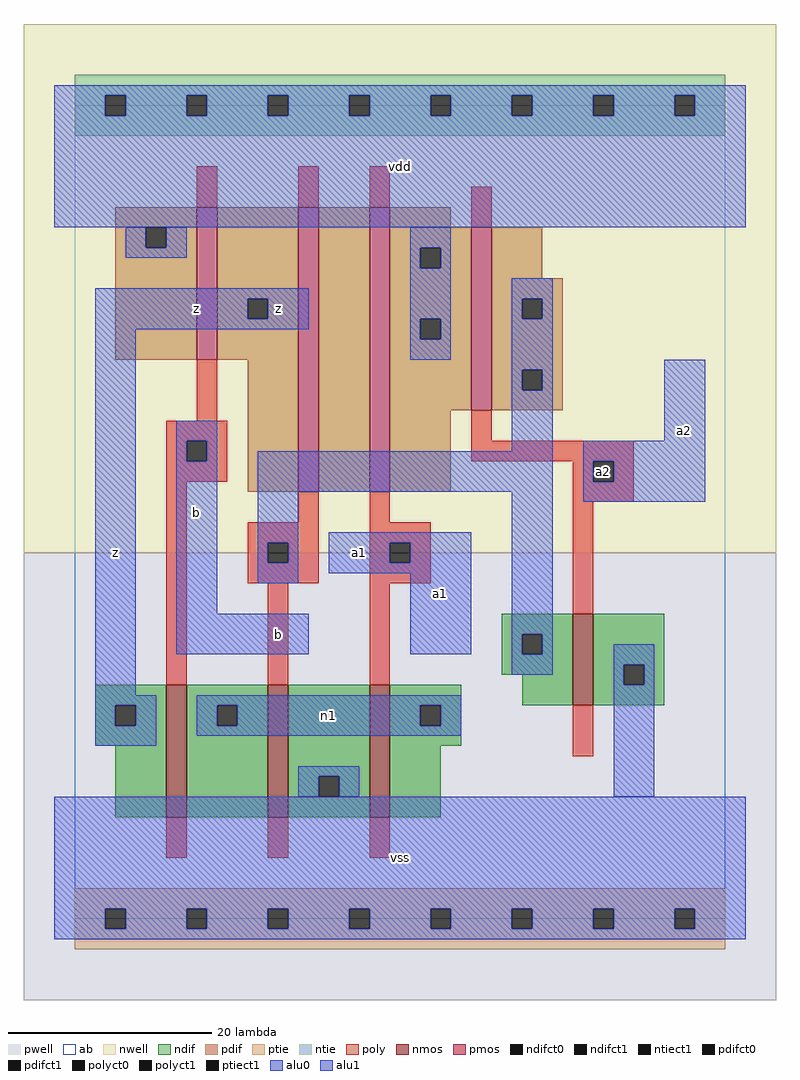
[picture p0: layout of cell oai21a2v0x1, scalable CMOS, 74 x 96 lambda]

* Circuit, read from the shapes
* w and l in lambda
.subckt oai21a2v0x1 a1 a2 b n1 vdd vss z
M1 n1 b z vss nfet w=13 l=2
M2 vss n2 n1 vss nfet w=13 l=2
M3 n1 a1 vss vss nfet w=13 l=2
M4 vss a2 n2 vss nfet w=9 l=2
M5 z b vdd vdd pfet w=15 l=2
M6 n3 n2 z vdd pfet w=28 l=2
M7 vdd a1 n3 vdd pfet w=28 l=2
M8 n2 a2 vdd vdd pfet w=18 l=2
.ends

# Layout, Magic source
magic
tech scmos
<< ab >>
rect 0 0 64 80
<< nwell >>
rect -5 36 69 88
<< pwell >>
rect -5 -8 69 36
<< poly >>
rect 12 70 14 74
rect 22 70 24 74
rect 29 70 31 74
rect 12 49 14 55
rect 9 47 15 49
rect 9 45 11 47
rect 13 45 15 47
rect 9 43 15 45
rect 9 23 11 43
rect 39 68 41 72
rect 39 47 41 50
rect 39 45 55 47
rect 49 43 51 45
rect 53 43 55 45
rect 22 39 24 42
rect 17 37 24 39
rect 17 35 19 37
rect 21 35 24 37
rect 17 33 24 35
rect 29 39 31 42
rect 49 41 55 43
rect 29 37 35 39
rect 29 35 31 37
rect 33 35 35 37
rect 29 33 35 35
rect 19 23 21 33
rect 29 23 31 33
rect 49 30 51 41
rect 49 16 51 21
rect 9 6 11 10
rect 19 6 21 10
rect 29 6 31 10
<< ndif >>
rect 42 28 49 30
rect 42 26 44 28
rect 46 26 49 28
rect 42 24 49 26
rect 2 21 9 23
rect 2 19 4 21
rect 6 19 9 21
rect 2 17 9 19
rect 4 10 9 17
rect 11 21 19 23
rect 11 19 14 21
rect 16 19 19 21
rect 11 10 19 19
rect 21 14 29 23
rect 21 12 24 14
rect 26 12 29 14
rect 21 10 29 12
rect 31 21 38 23
rect 44 21 49 24
rect 51 25 58 30
rect 51 23 54 25
rect 56 23 58 25
rect 51 21 58 23
rect 31 19 34 21
rect 36 19 38 21
rect 31 17 38 19
rect 31 10 36 17
<< pdif >>
rect 4 68 12 70
rect 4 66 7 68
rect 9 66 12 68
rect 4 55 12 66
rect 14 61 22 70
rect 14 59 17 61
rect 19 59 22 61
rect 14 55 22 59
rect 17 42 22 55
rect 24 42 29 70
rect 31 68 37 70
rect 31 66 39 68
rect 31 64 34 66
rect 36 64 39 66
rect 31 59 39 64
rect 31 57 34 59
rect 36 57 39 59
rect 31 50 39 57
rect 41 63 46 68
rect 41 61 48 63
rect 41 59 44 61
rect 46 59 48 61
rect 41 54 48 59
rect 41 52 44 54
rect 46 52 48 54
rect 41 50 48 52
rect 31 42 37 50
<< alu1 >>
rect -2 81 66 82
rect -2 79 3 81
rect 5 79 11 81
rect 13 79 19 81
rect 21 79 27 81
rect 29 79 35 81
rect 37 79 43 81
rect 45 79 51 81
rect 53 79 59 81
rect 61 79 66 81
rect -2 68 66 79
rect 2 61 23 62
rect 2 59 17 61
rect 19 59 23 61
rect 2 58 23 59
rect 2 22 6 58
rect 10 47 14 49
rect 10 45 11 47
rect 13 45 14 47
rect 58 47 62 55
rect 10 30 14 45
rect 25 37 39 38
rect 25 35 31 37
rect 33 35 39 37
rect 25 34 39 35
rect 10 26 23 30
rect 33 26 39 34
rect 50 45 62 47
rect 50 43 51 45
rect 53 43 62 45
rect 50 41 62 43
rect 2 21 8 22
rect 2 19 4 21
rect 6 19 8 21
rect 2 17 8 19
rect -2 1 66 12
rect -2 -1 3 1
rect 5 -1 11 1
rect 13 -1 19 1
rect 21 -1 27 1
rect 29 -1 35 1
rect 37 -1 43 1
rect 45 -1 51 1
rect 53 -1 59 1
rect 61 -1 66 1
rect -2 -2 66 -1
<< ptie >>
rect 0 1 64 3
rect 0 -1 3 1
rect 5 -1 11 1
rect 13 -1 19 1
rect 21 -1 27 1
rect 29 -1 35 1
rect 37 -1 43 1
rect 45 -1 51 1
rect 53 -1 59 1
rect 61 -1 64 1
rect 0 -3 64 -1
<< ntie >>
rect 0 81 64 83
rect 0 79 3 81
rect 5 79 11 81
rect 13 79 19 81
rect 21 79 27 81
rect 29 79 35 81
rect 37 79 43 81
rect 45 79 51 81
rect 53 79 59 81
rect 61 79 64 81
rect 0 77 64 79
<< nmos >>
rect 9 10 11 23
rect 19 10 21 23
rect 29 10 31 23
rect 49 21 51 30
<< pmos >>
rect 12 55 14 70
rect 22 42 24 70
rect 29 42 31 70
rect 39 50 41 68
<< polyct0 >>
rect 19 35 21 37
<< polyct1 >>
rect 11 45 13 47
rect 51 43 53 45
rect 31 35 33 37
<< ndifct0 >>
rect 44 26 46 28
rect 14 19 16 21
rect 24 12 26 14
rect 54 23 56 25
rect 34 19 36 21
<< ndifct1 >>
rect 4 19 6 21
<< ntiect1 >>
rect 3 79 5 81
rect 11 79 13 81
rect 19 79 21 81
rect 27 79 29 81
rect 35 79 37 81
rect 43 79 45 81
rect 51 79 53 81
rect 59 79 61 81
<< ptiect1 >>
rect 3 -1 5 1
rect 11 -1 13 1
rect 19 -1 21 1
rect 27 -1 29 1
rect 35 -1 37 1
rect 43 -1 45 1
rect 51 -1 53 1
rect 59 -1 61 1
<< pdifct0 >>
rect 7 66 9 68
rect 34 64 36 66
rect 34 57 36 59
rect 44 59 46 61
rect 44 52 46 54
<< pdifct1 >>
rect 17 59 19 61
<< alu0 >>
rect 5 66 7 68
rect 9 66 11 68
rect 5 65 11 66
rect 33 66 37 68
rect 33 64 34 66
rect 36 64 37 66
rect 33 59 37 64
rect 33 57 34 59
rect 36 57 37 59
rect 33 55 37 57
rect 43 61 47 63
rect 43 59 44 61
rect 46 59 47 61
rect 43 54 47 59
rect 43 52 44 54
rect 46 52 47 54
rect 43 46 47 52
rect 18 42 47 46
rect 18 37 22 42
rect 18 35 19 37
rect 21 35 22 37
rect 18 33 22 35
rect 43 28 47 42
rect 43 26 44 28
rect 46 26 47 28
rect 43 24 47 26
rect 53 25 57 27
rect 53 23 54 25
rect 56 23 57 25
rect 12 21 38 22
rect 12 19 14 21
rect 16 19 34 21
rect 36 19 38 21
rect 12 18 38 19
rect 22 14 28 15
rect 22 12 24 14
rect 26 12 28 14
rect 53 12 57 23
<< labels >>
rlabel alu0 25 20 25 20 6 n1
rlabel alu1 4 36 4 36 6 z
rlabel alu1 12 40 12 40 6 b
rlabel alu1 12 60 12 60 6 z
rlabel alu1 20 28 20 28 6 b
rlabel alu1 28 36 28 36 6 a1
rlabel alu1 20 60 20 60 6 z
rlabel alu1 32 6 32 6 6 vss
rlabel alu1 36 32 36 32 6 a1
rlabel alu1 32 74 32 74 6 vdd
rlabel polyct1 52 44 52 44 6 a2
rlabel alu1 60 48 60 48 6 a2
<< end >>
